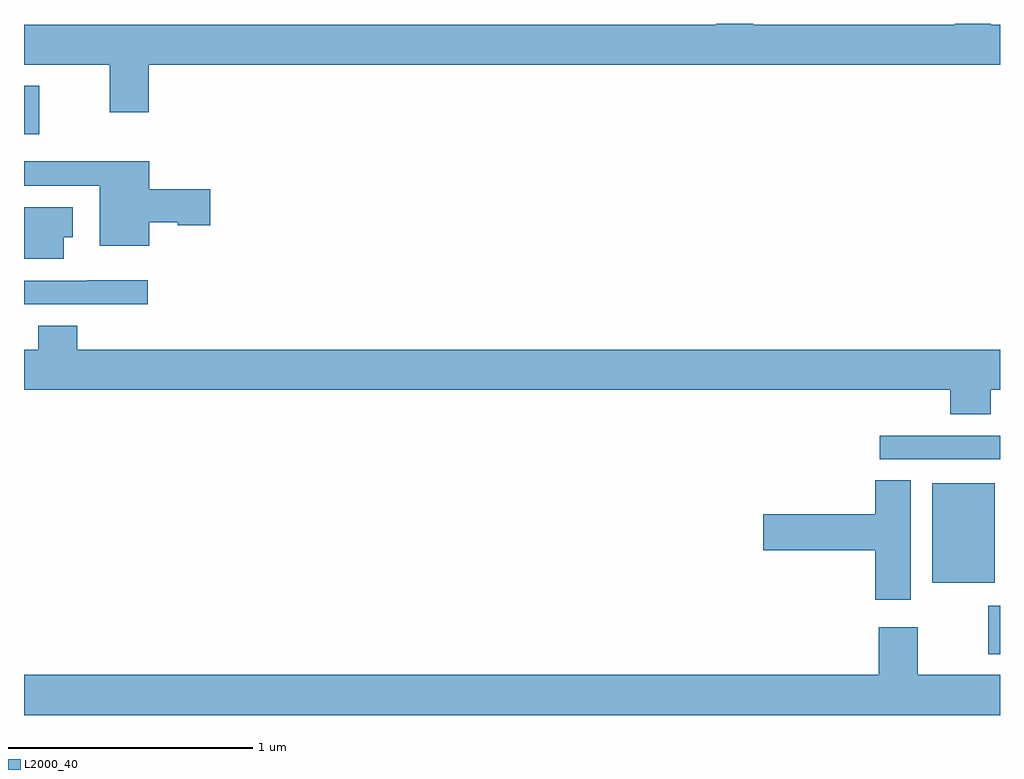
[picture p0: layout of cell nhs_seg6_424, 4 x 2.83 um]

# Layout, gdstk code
import gdstk
lib = gdstk.Library(unit=1e-6, precision=1e-09)
def R(c, l, rs):  # rectangles x0, y0, x1, y1
    for r in rs: c.add(gdstk.rectangle(r[:2], r[2:], *l))
def P(c, l, *ps):  # polygons
    for p in ps: c.add(gdstk.Polygon(p, *l))
L2000_40 = (2000, 40)

nhs_seg6_424 = lib.new_cell('nhs_seg6_424')
R(nhs_seg6_424, L2000_40, [(138.952,948.918,139,949.116), (138.722,949.211,138.979,949.618), (138.507,949.716,139,949.812), (135,951.048,135.063,951.247)])
P(nhs_seg6_424, L2000_40, [(135.512,951.332),(139,951.332),(139,951.496),(138.963,951.496),(138.963,951.5),(138.815,951.5),(138.815,951.496),(137.989,951.496),(137.989,951.5),(137.837,951.5),(137.837,951.496),(135,951.496),(135,951.332),(135.352,951.332),(135.352,951.138),(135.512,951.138)],
  [(135.514,950.687),(135.63,950.687),(135.63,950.675),(135.763,950.675),(135.763,950.822),(135.514,950.822),(135.514,950.938),(135,950.938),(135,950.837),(135.311,950.837),(135.311,950.591),(135.514,950.591)],
  [(135.163,950.627),(135.199,950.627),(135.199,950.749),(135,950.749),(135,950.537),(135.163,950.537)],
  [(135.508,950.449),(135.259,950.449),(135.259,950.448),(135,950.448),(135,950.352),(135.508,950.352)],
  [(138.962,950),(139,950),(139,950.164),(135.218,950.164),(135.218,950.263),(135.058,950.263),(135.058,950.164),(135,950.164),(135,950),(138.797,950),(138.797,949.901),(138.962,949.901)],
  [(138.634,949.631),(138.488,949.631),(138.488,949.49),(138.03,949.49),(138.03,949.343),(138.488,949.343),(138.488,949.14),(138.634,949.14)],
  [(139,948.832),(138.663,948.832),(138.663,949.027),(138.503,949.027),(138.503,948.832),(135,948.832),(135,948.668),(139,948.668)])

lib.write_gds('nhs_seg6_424.gds')
